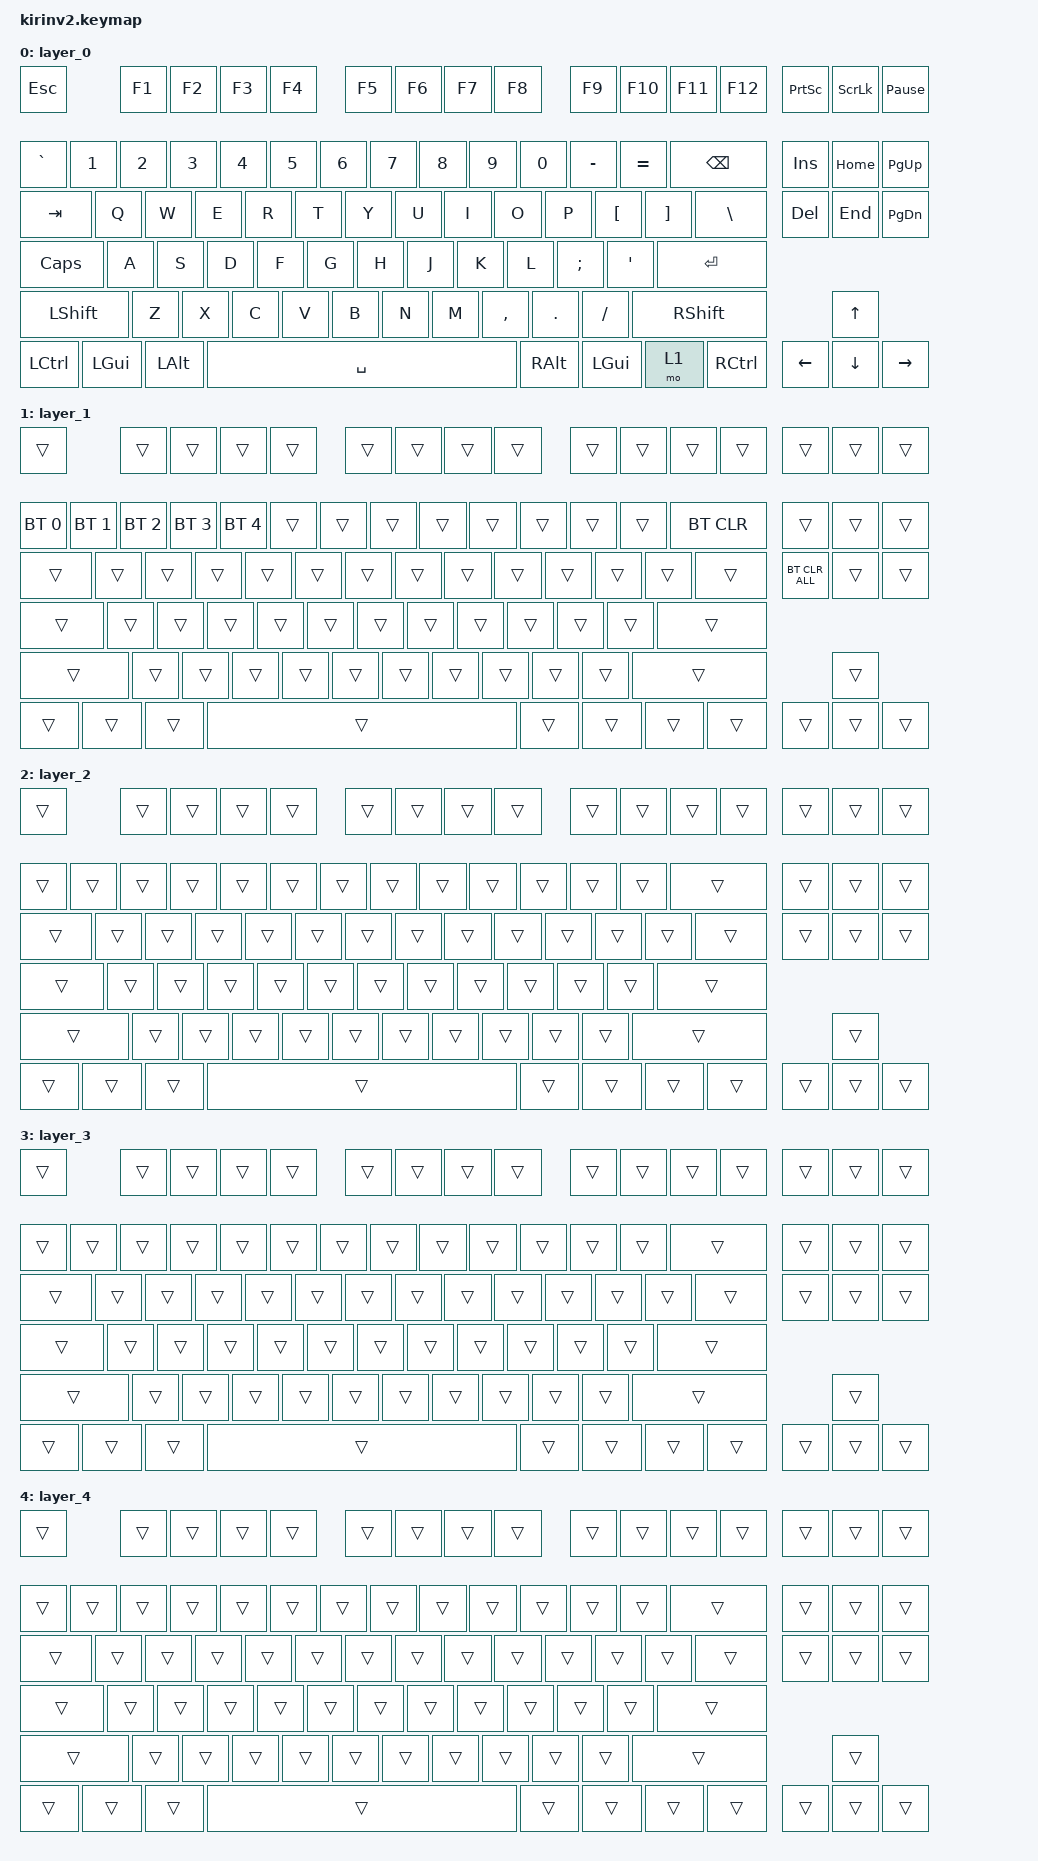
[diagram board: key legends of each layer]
#include <behaviors.dtsi>
#include <dt-bindings/zmk/bt.h>
#include <dt-bindings/zmk/keys.h>

/ {
    combos {
        compatible = "zmk,combos";

        reset {
            bindings = <&sys_reset>;
            key-positions = <76 63 79 34>;
        };
    };

    keymap {
        compatible = "zmk,keymap";

        layer_0 {
            bindings = <
&kp ESC       &kp F1    &kp F2    &kp F3  &kp F4  &kp F5  &kp F6     &kp F7  &kp F8  &kp F9     &kp F10        &kp F11    &kp F12               &kp PRINTSCREEN  &kp SCROLLLOCK  &kp PAUSE_BREAK
&kp GRAVE     &kp N1    &kp N2    &kp N3  &kp N4  &kp N5  &kp N6     &kp N7  &kp N8  &kp N9     &kp N0         &kp MINUS  &kp EQUAL  &kp BSPC   &kp INS          &kp HOME        &kp PG_UP
&kp TAB       &kp Q     &kp W     &kp E   &kp R   &kp T   &kp Y      &kp U   &kp I   &kp O      &kp P          &kp LBKT   &kp RBKT   &kp BSLH   &kp DEL          &kp END         &kp PG_DN
&kp CAPSLOCK  &kp A     &kp S     &kp D   &kp F   &kp G   &kp H      &kp J   &kp K   &kp L      &kp SEMI       &kp SQT               &kp RET
&kp LSHFT               &kp Z     &kp X   &kp C   &kp V   &kp B      &kp N   &kp M   &kp COMMA  &kp DOT        &kp FSLH              &kp RSHFT                   &kp UP
&kp LCTRL     &kp LGUI  &kp LALT                          &kp SPACE                             &kp RIGHT_ALT  &kp LGUI   &mo 1      &kp RCTRL  &kp LEFT         &kp DOWN        &kp RIGHT
            >;
        };

        layer_1 {
            bindings = <
&trans        &trans        &trans        &trans        &trans        &trans  &trans  &trans  &trans  &trans  &trans  &trans  &trans              &trans          &trans  &trans
&bt BT_SEL 0  &bt BT_SEL 1  &bt BT_SEL 2  &bt BT_SEL 3  &bt BT_SEL 4  &trans  &trans  &trans  &trans  &trans  &trans  &trans  &trans  &bt BT_CLR  &trans          &trans  &trans
&trans        &trans        &trans        &trans        &trans        &trans  &trans  &trans  &trans  &trans  &trans  &trans  &trans  &trans      &bt BT_CLR_ALL  &trans  &trans
&trans        &trans        &trans        &trans        &trans        &trans  &trans  &trans  &trans  &trans  &trans  &trans          &trans
&trans                      &trans        &trans        &trans        &trans  &trans  &trans  &trans  &trans  &trans  &trans          &trans                      &trans
&trans        &trans        &trans                                            &trans                          &trans  &trans  &trans  &trans      &trans          &trans  &trans
            >;
        };

        layer_2 {
            bindings = <
&trans  &trans  &trans  &trans  &trans  &trans  &trans  &trans  &trans  &trans  &trans  &trans  &trans          &trans  &trans  &trans
&trans  &trans  &trans  &trans  &trans  &trans  &trans  &trans  &trans  &trans  &trans  &trans  &trans  &trans  &trans  &trans  &trans
&trans  &trans  &trans  &trans  &trans  &trans  &trans  &trans  &trans  &trans  &trans  &trans  &trans  &trans  &trans  &trans  &trans
&trans  &trans  &trans  &trans  &trans  &trans  &trans  &trans  &trans  &trans  &trans  &trans          &trans
&trans          &trans  &trans  &trans  &trans  &trans  &trans  &trans  &trans  &trans  &trans          &trans          &trans
&trans  &trans  &trans                          &trans                          &trans  &trans  &trans  &trans  &trans  &trans  &trans
            >;
        };

        layer_3 {
            bindings = <
&trans  &trans  &trans  &trans  &trans  &trans  &trans  &trans  &trans  &trans  &trans  &trans  &trans          &trans  &trans  &trans
&trans  &trans  &trans  &trans  &trans  &trans  &trans  &trans  &trans  &trans  &trans  &trans  &trans  &trans  &trans  &trans  &trans
&trans  &trans  &trans  &trans  &trans  &trans  &trans  &trans  &trans  &trans  &trans  &trans  &trans  &trans  &trans  &trans  &trans
&trans  &trans  &trans  &trans  &trans  &trans  &trans  &trans  &trans  &trans  &trans  &trans          &trans
&trans          &trans  &trans  &trans  &trans  &trans  &trans  &trans  &trans  &trans  &trans          &trans          &trans
&trans  &trans  &trans                          &trans                          &trans  &trans  &trans  &trans  &trans  &trans  &trans
            >;
        };

        layer_4 {
            bindings = <
&trans  &trans  &trans  &trans  &trans  &trans  &trans  &trans  &trans  &trans  &trans  &trans  &trans          &trans  &trans  &trans
&trans  &trans  &trans  &trans  &trans  &trans  &trans  &trans  &trans  &trans  &trans  &trans  &trans  &trans  &trans  &trans  &trans
&trans  &trans  &trans  &trans  &trans  &trans  &trans  &trans  &trans  &trans  &trans  &trans  &trans  &trans  &trans  &trans  &trans
&trans  &trans  &trans  &trans  &trans  &trans  &trans  &trans  &trans  &trans  &trans  &trans          &trans
&trans          &trans  &trans  &trans  &trans  &trans  &trans  &trans  &trans  &trans  &trans          &trans          &trans
&trans  &trans  &trans                          &trans                          &trans  &trans  &trans  &trans  &trans  &trans  &trans
            >;
        };
    };
};
